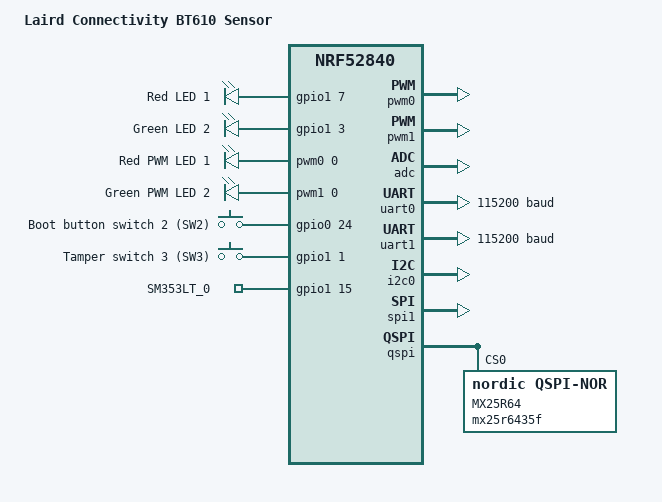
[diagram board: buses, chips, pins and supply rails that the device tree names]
/*
 * Copyright (c) 2020-2022 Laird Connectivity
 *
 * SPDX-License-Identifier: Apache-2.0
 */

/dts-v1/;
#include <nordic/nrf52840_qiaa.dtsi>
#include "bt6-pinctrl.dtsi"

/ {
	model = "Laird Connectivity BT610 Sensor";
	compatible = "lairdconnect,bt610";

	chosen {
		zephyr,console = &uart0;
		zephyr,shell-uart = &uart0;
		zephyr,uart-mcumgr = &uart0;
		zephyr,bt-mon-uart = &uart0;
		zephyr,bt-c2h-uart = &uart0;
		zephyr,sram = &sram0;
		zephyr,flash = &flash0;
		zephyr,code-partition = &slot0_partition;
		nordic,pm-ext-flash = &mx25r64;
	};

	leds {
		compatible = "gpio-leds";
		led1: led_1 {
			gpios = <&gpio1 7 GPIO_ACTIVE_HIGH>;
			label = "Red LED 1";
		};
		led2: led_2 {
			gpios = <&gpio1 3 GPIO_ACTIVE_HIGH>;
			label = "Green LED 2";
		};
	};


	pwmleds {
		compatible = "pwm-leds";

		led1pwm: led_1_pwm {
			pwms = <&pwm0 0 PWM_MSEC(20) PWM_POLARITY_NORMAL>;
			label = "Red PWM LED 1";
		};

		led2pwm: led_2_pwm {
			pwms = <&pwm1 0 PWM_MSEC(20) PWM_POLARITY_NORMAL>;
			label = "Green PWM LED 2";
		};
	};

	buttons {
		compatible = "gpio-keys";
		button0: button_0 {
			gpios = <&gpio0 24 GPIO_PULL_UP>;
			label = "Boot button switch 2 (SW2)";
		};
		button1: button_1 {
			gpios = <&gpio1 1 GPIO_PULL_UP>;
			label = "Tamper switch 3 (SW3)";
		};
		mag0: mag_0 {
			compatible = "honeywell,sm351lt";
			gpios = <&gpio1 15 0>;
			label = "SM353LT_0";
		};
	};

	aliases {
		led0 = &led1;
		led1 = &led2;
		led0pwm = &led1pwm;
		led1pwm = &led2pwm;
		sw0 = &button0;
		sw1 = &button1;
		sw2 = &mag0;
	};
};

&pwm0 {
	status = "okay";
	pinctrl-0 = <&pwm0_default>;
	pinctrl-1 = <&pwm0_sleep>;
	pinctrl-names = "default", "sleep";
};

&pwm1 {
	status = "okay";
	pinctrl-0 = <&pwm1_default>;
	pinctrl-1 = <&pwm1_sleep>;
	pinctrl-names = "default", "sleep";
};

&adc {
	status = "okay";
};

&gpiote {
	status = "okay";
};

&gpio0 {
	status = "okay";
};

&gpio1 {
	status = "okay";
};

&uart0 {
	compatible = "nordic,nrf-uarte";
	current-speed = <115200>;
	status = "okay";
	pinctrl-0 = <&uart0_default>;
	pinctrl-1 = <&uart0_sleep>;
	pinctrl-names = "default", "sleep";
};

&uart1 {
	compatible = "nordic,nrf-uarte";
	current-speed = <115200>;
	status = "okay";
	pinctrl-0 = <&uart1_default>;
	pinctrl-1 = <&uart1_sleep>;
	pinctrl-names = "default", "sleep";
};

&i2c0 {
	compatible = "nordic,nrf-twi";
	status = "okay";
	pinctrl-0 = <&i2c0_default>;
	pinctrl-1 = <&i2c0_sleep>;
	pinctrl-names = "default", "sleep";
};

&spi1 {
	compatible = "nordic,nrf-spi";
	status = "okay";
	pinctrl-0 = <&spi1_default>;
	pinctrl-1 = <&spi1_sleep>;
	pinctrl-names = "default", "sleep";
	cs-gpios = <&gpio0 25 GPIO_ACTIVE_LOW>, <&gpio0 31 GPIO_ACTIVE_LOW>;
};

&qspi {
	status = "okay";
	pinctrl-0 = <&qspi_default>;
	pinctrl-1 = <&qspi_sleep>;
	pinctrl-names = "default", "sleep";
	mx25r64: mx25r6435f@0 {
		compatible = "nordic,qspi-nor";
		reg = <0>;
		writeoc = "pp4io";
		readoc = "read4io";
		sck-frequency = <8000000>;
		label = "MX25R64";
		jedec-id = [c2 28 17];
		sfdp-bfp = [
			e5 20 f1 ff  ff ff ff 03  44 eb 08 6b  08 3b 04 bb
			ee ff ff ff  ff ff 00 ff  ff ff 00 ff  0c 20 0f 52
			10 d8 00 ff  23 72 f5 00  82 ed 04 cc  44 83 68 44
			30 b0 30 b0  f7 c4 d5 5c  00 be 29 ff  f0 d0 ff ff
		];
		size = <67108864>;
		has-dpd;
		t-enter-dpd = <10000>;
		t-exit-dpd = <35000>;
	};
};

&flash0 {
	/*
	 * For more information, see:
	 * http://docs.zephyrproject.org/latest/guides/dts/index.html#flash-partitions
	 */
	partitions {
		compatible = "fixed-partitions";
		#address-cells = <1>;
		#size-cells = <1>;

		/* 96K */
		boot_partition: partition@0 {
			label = "mcuboot";
			reg = <0x000000000 0x00018000>;
		};
		/* 896K */
		slot0_partition: partition@18000 {
			label = "image-0";
			reg = <0x00018000 0x000E0000>;
		};

		/*
		 * The flash starting at 0x000f8000 and ending at
		 * 0x000fffff is reserved for use by the application.
		 */

		/*
		 * Storage partition will be used by FCB/NVS
		 * if enabled. 32K
		 */
		storage_partition: partition@f8000 {
			label = "storage";
			reg = <0x000f8000 0x00008000>;
		};
	};
};
